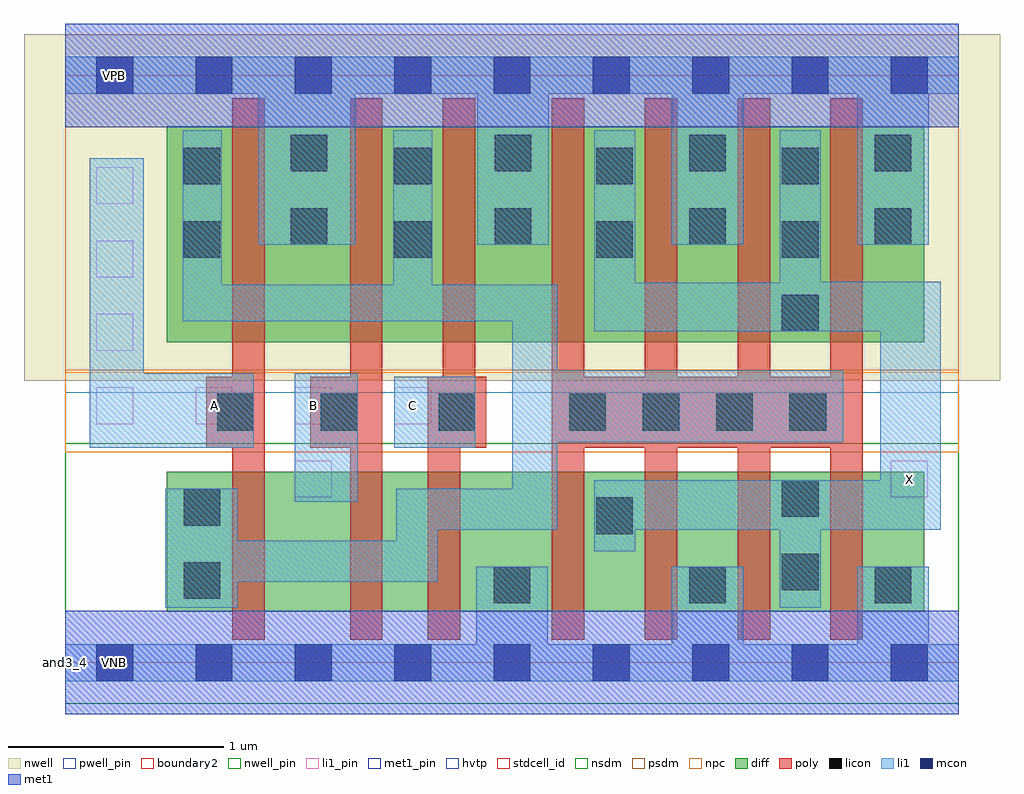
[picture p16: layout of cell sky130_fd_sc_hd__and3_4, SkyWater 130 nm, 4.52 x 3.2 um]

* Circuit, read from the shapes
.subckt sky130_fd_sc_hd__and3_4 A B C VGND VNB VPB VPWR X
XM1 n1 A n2 VNB sky130_fd_pr__nfet_01v8 w=0.65 l=0.15
XM2 n3 B n1 VNB sky130_fd_pr__nfet_01v8 w=0.65 l=0.15
XM3 VGND C n3 VNB sky130_fd_pr__nfet_01v8 w=0.65 l=0.15
XM4 X n2 VGND VNB sky130_fd_pr__nfet_01v8 w=0.65 l=0.15 m=4
XM5 VPWR A n2 VPB sky130_fd_pr__pfet_01v8_hvt w=1 l=0.15
XM6 n2 B VPWR VPB sky130_fd_pr__pfet_01v8_hvt w=1 l=0.15
XM7 VPWR C n2 VPB sky130_fd_pr__pfet_01v8_hvt w=1 l=0.15
XM8 X n2 VPWR VPB sky130_fd_pr__pfet_01v8_hvt w=1 l=0.15 m=4
.ends

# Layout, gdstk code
import gdstk
lib = gdstk.Library(unit=1e-6, precision=1e-09)
def R(c, l, rs):  # rectangles x0, y0, x1, y1
    for r in rs: c.add(gdstk.rectangle(r[:2], r[2:], *l))
def A(c, l, x, y, w, h, nx, ny, dx, dy):  # array of equal rectangles
    R(c, l, [(x+i*dx, y+j*dy, x+i*dx+w, y+j*dy+h) for i in range(nx) for j in range(ny)])
def P(c, l, *ps):  # polygons
    for p in ps: c.add(gdstk.Polygon(p, *l))
nwell_pin = (64, 16)
nwell = (64, 20)
diff = (65, 20)
poly = (66, 20)
licon = (66, 44)
li1_pin = (67, 16)
li1 = (67, 20)
mcon = (67, 44)
met1_pin = (68, 16)
met1 = (68, 20)
hvtp = (78, 44)
stdcell_id = (81, 4)
nsdm = (93, 44)
psdm = (94, 20)
npc = (95, 20)
pwell_pin = (122, 16)
boundary2 = (236, 0)

sky130_fd_sc_hd__and3_4 = lib.new_cell('sky130_fd_sc_hd__and3_4')
R(sky130_fd_sc_hd__and3_4, nwell_pin, [(0.145,2.635,0.315,2.805)])
R(sky130_fd_sc_hd__and3_4, nwell, [(-0.19,1.305,4.33,2.91)])
R(sky130_fd_sc_hd__and3_4, diff, [(0.47,0.235,3.98,0.885), (0.47,1.485,3.98,2.485)])
P(sky130_fd_sc_hd__and3_4, poly, [(0.925,2.615),(0.775,2.615),(0.775,1.325),(0.655,1.325),(0.655,0.995),(0.775,0.995),(0.775,0.105),(0.925,0.105)],
  [(1.47,2.615),(1.32,2.615),(1.32,1.325),(1.135,1.325),(1.135,0.995),(1.32,0.995),(1.32,0.105),(1.47,0.105)],
  [(1.95,1.325),(1.9,1.325),(1.9,2.615),(1.75,2.615),(1.75,1.325),(1.68,1.325),(1.68,0.105),(1.83,0.105),(1.83,0.995),(1.95,0.995)],
  [(3.695,2.615),(3.545,2.615),(3.545,1.325),(3.265,1.325),(3.265,2.615),(3.115,2.615),(3.115,1.325),(2.835,1.325),(2.835,2.615),(2.685,2.615),(2.685,1.325),(2.405,1.325),(2.405,2.615),(2.255,2.615),(2.255,0.105),(2.405,0.105),(2.405,0.995),(2.685,0.995),(2.685,0.105),(2.835,0.105),(2.835,0.995),(3.115,0.995),(3.115,0.105),(3.265,0.105),(3.265,0.995),(3.545,0.995),(3.545,0.105),(3.695,0.105)])
A(sky130_fd_sc_hd__and3_4, licon, 2.335, 1.075, 0.17, 0.17, 4, 1, 0.34, 0)
A(sky130_fd_sc_hd__and3_4, licon, 3.32, 1.535, 0.17, 0.17, 1, 3, 0, 0.34)
R(sky130_fd_sc_hd__and3_4, licon, [(1.985,0.275,2.155,0.445), (2.89,0.275,3.06,0.445), (3.75,0.275,3.92,0.445), (0.55,0.295,0.72,0.465), (3.32,0.335,3.49,0.505), (2.46,0.595,2.63,0.765), (0.55,0.635,0.72,0.805), (3.32,0.675,3.49,0.845), (0.705,1.075,0.875,1.245), (1.185,1.075,1.355,1.245), (1.73,1.075,1.9,1.245), (0.55,1.875,0.72,2.045), (1.525,1.875,1.695,2.045), (2.46,1.875,2.63,2.045), (1.045,1.935,1.215,2.105), (1.99,1.935,2.16,2.105), (2.89,1.935,3.06,2.105), (3.75,1.935,3.92,2.105), (0.55,2.215,0.72,2.385), (1.525,2.215,1.695,2.385), (2.46,2.215,2.63,2.385), (1.045,2.275,1.215,2.445), (1.99,2.275,2.16,2.445), (2.89,2.275,3.06,2.445), (3.75,2.275,3.92,2.445)])
A(sky130_fd_sc_hd__and3_4, li1_pin, 0.145, 1.105, 0.17, 0.17, 4, 1, 0.46, 0)
A(sky130_fd_sc_hd__and3_4, li1_pin, 0.145, 1.445, 0.17, 0.17, 1, 3, 0, 0.34)
R(sky130_fd_sc_hd__and3_4, li1_pin, [(1.065,0.765,1.235,0.935), (3.825,0.765,3.995,0.935)])
R(sky130_fd_sc_hd__and3_4, li1, [(1.065,0.745,1.355,1.34), (1.525,0.995,1.9,1.325)])
P(sky130_fd_sc_hd__and3_4, li1, [(4.14,0.085),(4,0.085),(4,0.445),(3.67,0.445),(3.67,0.085),(3.14,0.085),(3.14,0.445),(2.81,0.445),(2.81,0.085),(2.235,0.085),(2.235,0.445),(1.905,0.445),(1.905,0.085),(0,0.085),(0,-0.085),(4.14,-0.085)],
  [(0.875,1.34),(0.365,1.34),(0.365,2.335),(0.115,2.335),(0.115,0.995),(0.875,0.995)],
  [(4.055,1.765),(3.5,1.765),(3.5,2.465),(3.31,2.465),(3.31,1.76),(2.64,1.76),(2.64,2.465),(2.45,2.465),(2.45,1.535),(3.775,1.535),(3.775,0.845),(2.45,0.845),(2.45,0.515),(2.64,0.515),(2.64,0.615),(3.31,0.615),(3.31,0.255),(3.5,0.255),(3.5,0.615),(4.055,0.615)],
  [(3.605,1.355),(2.28,1.355),(2.28,1.75),(1.7,1.75),(1.7,2.465),(1.52,2.465),(1.52,1.75),(0.725,1.75),(0.725,2.465),(0.545,2.465),(0.545,1.58),(2.07,1.58),(2.07,0.805),(1.535,0.805),(1.535,0.565),(0.8,0.565),(0.8,0.805),(0.465,0.805),(0.465,0.255),(0.8,0.255),(0.8,0.375),(1.725,0.375),(1.725,0.615),(2.28,0.615),(2.28,1.02),(3.605,1.02)],
  [(4.14,2.805),(0,2.805),(0,2.635),(0.895,2.635),(0.895,1.935),(1.345,1.935),(1.345,2.635),(1.91,2.635),(1.91,1.935),(2.24,1.935),(2.24,2.635),(2.81,2.635),(2.81,1.935),(3.14,1.935),(3.14,2.635),(3.67,2.635),(3.67,1.935),(4,1.935),(4,2.635),(4.14,2.635)])
A(sky130_fd_sc_hd__and3_4, mcon, 0.145, -0.085, 0.17, 0.17, 9, 2, 0.46, 2.72)
R(sky130_fd_sc_hd__and3_4, met1_pin, [(0.145,-0.085,0.315,0.085), (0.145,2.635,0.315,2.805)])
R(sky130_fd_sc_hd__and3_4, hvtp, [(0,1.25,4.14,2.72)])
R(sky130_fd_sc_hd__and3_4, stdcell_id, [(0,0,4.14,2.72)])
R(sky130_fd_sc_hd__and3_4, nsdm, [(0,-0.19,4.14,1.015)])
R(sky130_fd_sc_hd__and3_4, psdm, [(0,1.355,4.14,2.91)])
R(sky130_fd_sc_hd__and3_4, npc, [(0,0.975,4.14,1.345)])
R(sky130_fd_sc_hd__and3_4, pwell_pin, [(0.145,-0.085,0.315,0.085)])
R(sky130_fd_sc_hd__and3_4, boundary2, [(0,0,4.14,2.72)])
sky130_fd_sc_hd__and3_4.add(gdstk.FlexPath([(0,2.72),(4.14,2.72)], 0.48, ends="flush", simple_path=True, layer=68, datatype=20))  # met1
sky130_fd_sc_hd__and3_4.add(gdstk.FlexPath([(0,0),(4.14,0)], 0.48, ends="flush", simple_path=True, layer=68, datatype=20))  # met1
sky130_fd_sc_hd__and3_4.add(gdstk.Label('A', (0.69,1.19), layer=67, texttype=5))
sky130_fd_sc_hd__and3_4.add(gdstk.Label('B', (1.15,1.19), layer=67, texttype=5))
sky130_fd_sc_hd__and3_4.add(gdstk.Label('C', (1.61,1.19), layer=67, texttype=5))
sky130_fd_sc_hd__and3_4.add(gdstk.Label('X', (3.91,0.85), layer=67, texttype=5))
sky130_fd_sc_hd__and3_4.add(gdstk.Label('VNB', (0.23,0), layer=64, texttype=59))
sky130_fd_sc_hd__and3_4.add(gdstk.Label('VPB', (0.23,2.72), layer=64, texttype=5))
sky130_fd_sc_hd__and3_4.add(gdstk.Label('VGND', (0.23,0), layer=68, texttype=5))
sky130_fd_sc_hd__and3_4.add(gdstk.Label('VPWR', (0.23,2.72), layer=68, texttype=5))
sky130_fd_sc_hd__and3_4.add(gdstk.Label('and3_4', (0,0), layer=83, texttype=44))

lib.write_gds('sky130_fd_sc_hd__and3_4.gds')
